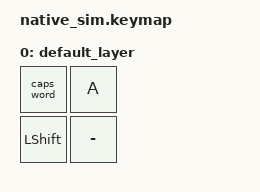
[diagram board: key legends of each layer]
#include <dt-bindings/zmk/keys.h>
#include <behaviors.dtsi>
#include <dt-bindings/zmk/input_mock.h>
#include "../behavior_keymap.dtsi"

/ {
    keymap {
        compatible = "zmk,keymap";

        default_layer {
            bindings = <
            &caps_word &kp A
            &kp LSHFT &kp MINUS
            >;
        };
    };
};

&mock_input {
    events = <
    ZMK_INPUT_MOCK_PRESS(0,0,10)
    ZMK_INPUT_MOCK_RELEASE(0,0,10)
    ZMK_INPUT_MOCK_PRESS(0,1,10)
    ZMK_INPUT_MOCK_RELEASE(0,1,10)
    ZMK_INPUT_MOCK_PRESS(1,0,10)
    ZMK_INPUT_MOCK_PRESS(1,1,10)
    ZMK_INPUT_MOCK_RELEASE(1,1,10)
    ZMK_INPUT_MOCK_RELEASE(1,0,10)
    ZMK_INPUT_MOCK_PRESS(0,1,10)
    ZMK_INPUT_MOCK_RELEASE(0,1,10)
    >;
};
